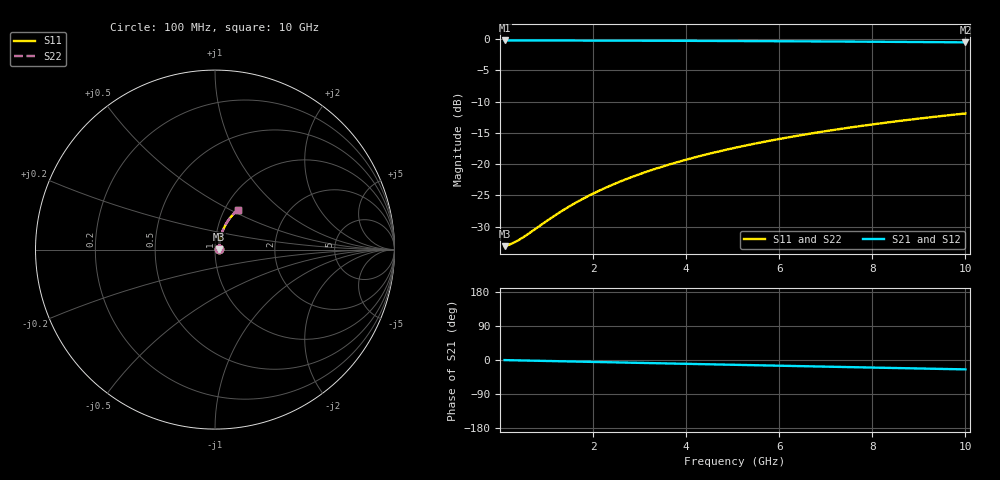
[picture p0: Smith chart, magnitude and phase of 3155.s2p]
# Hz S RI R 50.00
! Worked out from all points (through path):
!   100 points, 100 MHz to 10 GHz, reference 50 ohm
!   highest |S21| = -0.19 dB at 100 MHz (marker M1); lowest = -0.5 dB at 10 GHz (marker M2)
!   group delay of S21, straight-line fit = 6.89 ps
!   lowest |S11| = -33.1 dB at 100 MHz (marker M3), VSWR 1.05, Z = 52.2 + j0.27 ohm
!   |S11| at or under -10 dB: start of sweep to end of sweep
!   |S22| runs from -33.1 to -11.9 dB; largest |S21 - S12| = 0
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1e8  0.0219 0.00258  0.9781 -0.00432  0.9781 -0.00432  0.0219 0.00258
2e8  0.0221 0.00516  0.9779 -0.00864  0.9779 -0.00864  0.0221 0.00516
3e8  0.0222 0.00774  0.9778 -0.013  0.9778 -0.013  0.0222 0.00774
4e8  0.0224 0.0103  0.9776 -0.0173  0.9776 -0.0173  0.0224 0.0103
6e8  0.0227 0.0155  0.9772 -0.0259  0.9772 -0.0259  0.0227 0.0155
1e9  0.0237 0.0257  0.9762 -0.0431  0.9762 -0.0431  0.0237 0.0257
1.3e9  0.0246 0.0334  0.9751 -0.056  0.9751 -0.056  0.0246 0.0334
1.5e9  0.0253 0.0385  0.9744 -0.0646  0.9744 -0.0646  0.0253 0.0385
1.8e9  0.0265 0.0461  0.973 -0.0774  0.973 -0.0774  0.0265 0.0461
2.1e9  0.0279 0.0537  0.9714 -0.0902  0.9714 -0.0902  0.0279 0.0537
2.5e9  0.0301 0.0637  0.9689 -0.1072  0.9689 -0.1072  0.0301 0.0637
2.9e9  0.0326 0.0737  0.9661 -0.1241  0.9661 -0.1241  0.0326 0.0737
3.4e9  0.0362 0.0859  0.962 -0.1451  0.962 -0.1451  0.0362 0.0859
3.8e9  0.0395 0.0956  0.9583 -0.1618  0.9583 -0.1618  0.0395 0.0956
4.2e9  0.0431 0.1051  0.9542 -0.1783  0.9542 -0.1783  0.0431 0.1051
4.6e9  0.047 0.1145  0.9497 -0.1946  0.9497 -0.1946  0.047 0.1145
5.1e9  0.0523 0.126  0.9436 -0.2148  0.9436 -0.2148  0.0523 0.126
5.9e9  0.0618 0.1438  0.9327 -0.2466  0.9327 -0.2466  0.0618 0.1438
6.7e9  0.0725 0.1608  0.9205 -0.2776  0.9205 -0.2776  0.0725 0.1608
7.5e9  0.0842 0.1769  0.907 -0.3077  0.907 -0.3077  0.0842 0.1769
8.4e9  0.0985 0.1938  0.8904 -0.3405  0.8904 -0.3405  0.0985 0.1938
1e10  0.1267 0.2208  0.8576 -0.3955  0.8576 -0.3955  0.1267 0.2208
